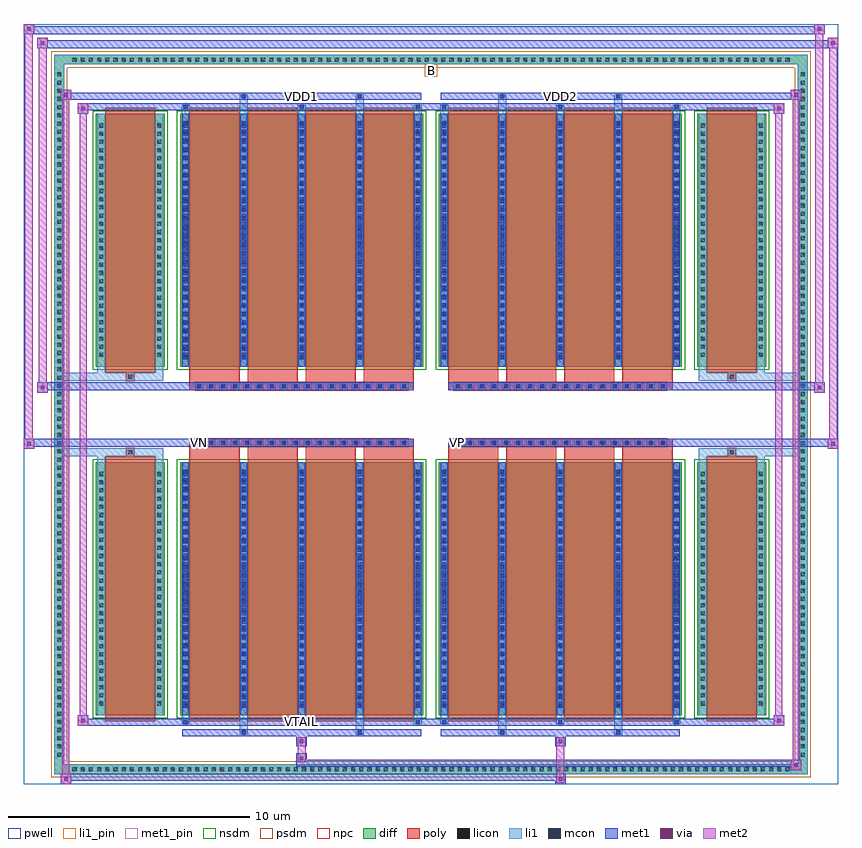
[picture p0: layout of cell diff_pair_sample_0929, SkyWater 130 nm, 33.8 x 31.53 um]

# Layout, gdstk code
import gdstk
lib = gdstk.Library(unit=1e-6, precision=5e-09)
def R(c, l, rs):  # rectangles x0, y0, x1, y1
    for r in rs: c.add(gdstk.rectangle(r[:2], r[2:], *l))
def A(c, l, x, y, w, h, nx, ny, dx, dy):  # array of equal rectangles
    R(c, l, [(x+i*dx, y+j*dy, x+i*dx+w, y+j*dy+h) for i in range(nx) for j in range(ny)])
def P(c, l, *ps):  # polygons
    for p in ps: c.add(gdstk.Polygon(p, *l))
pwell = (64, 44)
diff = (65, 20)
poly = (66, 20)
licon = (66, 44)
li1_pin = (67, 16)
li1 = (67, 20)
mcon = (67, 44)
met1_pin = (68, 16)
met1 = (68, 20)
via = (68, 44)
met2 = (69, 20)
nsdm = (93, 44)
psdm = (94, 20)
npc = (95, 20)

diff_pair_sample_0929 = lib.new_cell('diff_pair_sample_0929')
R(diff_pair_sample_0929, pwell, [(-16.9,-15.33,16.9,16.2), (-14.22,-13.52,-0.01,-0.8), (0.01,-13.52,14.22,-0.8), (-14.22,0.8,-0.01,13.52), (0.01,0.8,14.22,13.52)])
A(diff_pair_sample_0929, diff, -14.995, -14.93, 0.41, 0.41, 88, 2, 0.34, 29.45)
A(diff_pair_sample_0929, diff, -15.63, -14.315, 0.41, 0.41, 1, 84, 0, 0.34)
A(diff_pair_sample_0929, diff, 15.22, -14.315, 0.41, 0.41, 1, 84, 0, 0.34)
R(diff_pair_sample_0929, diff, [(-14.995,-14.93,14.995,-14.52), (-15.63,-14.315,-15.22,14.315), (15.22,-14.315,15.63,14.315), (-13.91,-12.475,-11.05,-1.985), (-10.41,-12.475,-0.32,-1.985), (0.32,-12.475,10.41,-1.985), (11.05,-12.475,13.91,-1.985), (-13.91,1.985,-11.05,12.475), (-10.41,1.985,-0.32,12.475), (0.32,1.985,10.41,12.475), (11.05,1.985,13.91,12.475), (-14.995,14.52,14.995,14.93)])
P(diff_pair_sample_0929, diff, [(15.63,14.93),(-15.63,14.93),(-15.63,-14.52),(-15.22,-14.52),(-15.22,14.52),(15.22,14.52),(15.22,-14.52),(-15.22,-14.52),(-15.63,-14.52),(-15.63,-14.93),(15.63,-14.93)])
A(diff_pair_sample_0929, poly, -10.02, -12.725, 2.08, 10.99, 4, 2, 2.41, 14.46)
A(diff_pair_sample_0929, poly, 0.71, -12.725, 2.08, 10.99, 4, 2, 2.41, 14.46)
A(diff_pair_sample_0929, poly, -10.02, -1.735, 2.08, 0.405, 4, 2, 2.41, 3.065)
A(diff_pair_sample_0929, poly, 0.71, -1.735, 2.08, 0.405, 4, 2, 2.41, 3.065)
A(diff_pair_sample_0929, poly, -9.78, -1.33, 0.33, 0.33, 18, 2, 0.5, 2.33)
A(diff_pair_sample_0929, poly, 0.95, -1.33, 0.33, 0.33, 18, 2, 0.5, 2.33)
R(diff_pair_sample_0929, poly, [(-13.52,-12.725,-11.44,-1.735), (11.44,-12.725,13.52,-1.735), (-12.645,-1.735,-12.315,-1.405), (-12.645,-1.735,-12.315,-1.405), (12.315,-1.735,12.645,-1.405), (12.315,-1.735,12.645,-1.405), (-10.02,-1.33,-0.71,-1), (0.71,-1.33,10.02,-1), (-10.02,1,-0.71,1.33), (0.71,1,10.02,1.33), (-12.645,1.405,-12.315,1.735), (-12.645,1.405,-12.315,1.735), (12.315,1.405,12.645,1.735), (12.315,1.405,12.645,1.735), (-13.52,1.735,-11.44,12.725), (11.44,1.735,13.52,12.725)])
A(diff_pair_sample_0929, licon, -14.875, -14.81, 0.17, 0.17, 88, 2, 0.34, 29.45)
A(diff_pair_sample_0929, licon, -15.51, -14.195, 0.17, 0.17, 1, 84, 0, 0.34)
A(diff_pair_sample_0929, licon, 15.34, -14.195, 0.17, 0.17, 1, 84, 0, 0.34)
A(diff_pair_sample_0929, licon, -13.77, -12.075, 0.17, 0.17, 1, 29, 0, 0.34)
A(diff_pair_sample_0929, licon, -11.36, -12.075, 0.17, 0.17, 1, 29, 0, 0.34)
A(diff_pair_sample_0929, licon, -10.27, -12.075, 0.17, 0.17, 5, 29, 2.41, 0.34)
A(diff_pair_sample_0929, licon, 0.46, -12.075, 0.17, 0.17, 5, 29, 2.41, 0.34)
A(diff_pair_sample_0929, licon, 11.19, -12.075, 0.17, 0.17, 1, 29, 0, 0.34)
A(diff_pair_sample_0929, licon, 13.6, -12.075, 0.17, 0.17, 1, 29, 0, 0.34)
A(diff_pair_sample_0929, licon, -9.7, -1.25, 0.17, 0.17, 18, 2, 0.5, 2.33)
A(diff_pair_sample_0929, licon, 1.03, -1.25, 0.17, 0.17, 18, 2, 0.5, 2.33)
A(diff_pair_sample_0929, licon, -13.77, 2.385, 0.17, 0.17, 1, 29, 0, 0.34)
A(diff_pair_sample_0929, licon, -11.36, 2.385, 0.17, 0.17, 1, 29, 0, 0.34)
A(diff_pair_sample_0929, licon, -10.27, 2.385, 0.17, 0.17, 5, 29, 2.41, 0.34)
A(diff_pair_sample_0929, licon, 0.46, 2.385, 0.17, 0.17, 5, 29, 2.41, 0.34)
A(diff_pair_sample_0929, licon, 11.19, 2.385, 0.17, 0.17, 1, 29, 0, 0.34)
A(diff_pair_sample_0929, licon, 13.6, 2.385, 0.17, 0.17, 1, 29, 0, 0.34)
R(diff_pair_sample_0929, licon, [(-12.565,-1.655,-12.395,-1.485), (12.395,-1.655,12.565,-1.485), (-12.565,1.485,-12.395,1.655), (12.395,1.485,12.565,1.655)])
R(diff_pair_sample_0929, li1_pin, [(-0.25,14.02,0.25,14.52)])
A(diff_pair_sample_0929, li1, -14.955, -14.89, 0.33, 0.33, 88, 2, 0.34, 29.45)
A(diff_pair_sample_0929, li1, -15.59, -14.275, 0.33, 0.33, 1, 84, 0, 0.34)
A(diff_pair_sample_0929, li1, 15.26, -14.275, 0.33, 0.33, 1, 84, 0, 0.34)
A(diff_pair_sample_0929, li1, -10.35, -12.85, 0.33, 0.375, 3, 2, 4.82, 25.325)
A(diff_pair_sample_0929, li1, -10.27, -12.85, 0.17, 0.17, 3, 2, 4.82, 25.53)
A(diff_pair_sample_0929, li1, 0.38, -12.85, 0.33, 0.375, 3, 2, 4.82, 25.325)
A(diff_pair_sample_0929, li1, 0.46, -12.85, 0.17, 0.17, 3, 2, 4.82, 25.53)
A(diff_pair_sample_0929, li1, -10.35, -12.475, 0.33, 10.49, 5, 2, 2.41, 14.46)
A(diff_pair_sample_0929, li1, 0.38, -12.475, 0.33, 10.49, 5, 2, 2.41, 14.46)
A(diff_pair_sample_0929, li1, -10.27, -12.175, 0.17, 0.17, 5, 28, 2.41, 0.36)
A(diff_pair_sample_0929, li1, -10.27, -12.175, 0.17, 9.89, 5, 2, 2.41, 14.46)
A(diff_pair_sample_0929, li1, 0.46, -12.175, 0.17, 0.17, 5, 28, 2.41, 0.36)
A(diff_pair_sample_0929, li1, 0.46, -12.175, 0.17, 9.89, 5, 2, 2.41, 14.46)
A(diff_pair_sample_0929, li1, -13.85, -12.155, 0.33, 0.33, 1, 29, 0, 0.34)
A(diff_pair_sample_0929, li1, -11.44, -12.155, 0.33, 0.33, 1, 29, 0, 0.34)
A(diff_pair_sample_0929, li1, -10.35, -12.155, 0.33, 0.33, 5, 29, 2.41, 0.34)
A(diff_pair_sample_0929, li1, 0.38, -12.155, 0.33, 0.33, 5, 29, 2.41, 0.34)
A(diff_pair_sample_0929, li1, 11.11, -12.155, 0.33, 0.33, 1, 29, 0, 0.34)
A(diff_pair_sample_0929, li1, 13.52, -12.155, 0.33, 0.33, 1, 29, 0, 0.34)
A(diff_pair_sample_0929, li1, -9.78, -1.33, 0.33, 0.33, 18, 2, 0.5, 2.33)
A(diff_pair_sample_0929, li1, 0.95, -1.33, 0.33, 0.33, 18, 2, 0.5, 2.33)
A(diff_pair_sample_0929, li1, -10.27, 2.285, 0.17, 0.17, 5, 28, 2.41, 0.36)
A(diff_pair_sample_0929, li1, 0.46, 2.285, 0.17, 0.17, 5, 28, 2.41, 0.36)
A(diff_pair_sample_0929, li1, -13.85, 2.305, 0.33, 0.33, 1, 29, 0, 0.34)
A(diff_pair_sample_0929, li1, -11.44, 2.305, 0.33, 0.33, 1, 29, 0, 0.34)
A(diff_pair_sample_0929, li1, -10.35, 2.305, 0.33, 0.33, 5, 29, 2.41, 0.34)
A(diff_pair_sample_0929, li1, 0.38, 2.305, 0.33, 0.33, 5, 29, 2.41, 0.34)
A(diff_pair_sample_0929, li1, 11.11, 2.305, 0.33, 0.33, 1, 29, 0, 0.34)
A(diff_pair_sample_0929, li1, 13.52, 2.305, 0.33, 0.33, 1, 29, 0, 0.34)
R(diff_pair_sample_0929, li1, [(-15.63,-14.93,-15.22,-14.52), (-15.63,-14.93,-15.22,-14.52), (-15.22,-14.93,15.22,-14.52), (15.22,-14.93,15.63,-14.52), (15.22,-14.93,15.63,-14.52), (-15.63,-14.52,-15.22,14.52), (15.22,-14.52,15.63,14.52), (-7.94,-13.28,-7.61,-12.475), (-7.86,-13.28,-7.69,-13.11), (-3.12,-13.28,-2.79,-12.475), (-3.04,-13.28,-2.87,-13.11), (2.79,-13.28,3.12,-12.475), (2.87,-13.28,3.04,-13.11), (7.61,-13.28,7.94,-12.475), (7.69,-13.28,7.86,-13.11), (-13.85,-12.475,-13.52,-1.985), (-11.44,-12.475,-11.11,-1.985), (11.11,-12.475,11.44,-1.985), (13.52,-12.475,13.85,-1.985), (-13.85,-1.985,-13.52,-1.405), (-11.44,-1.985,-11.11,-1.405), (11.11,-1.985,11.44,-1.405), (13.52,-1.985,13.85,-1.405), (-15.63,-1.735,-12.645,-1.405), (-13.85,-1.735,-12.645,-1.405), (-12.645,-1.735,-12.315,-1.405), (-12.315,-1.735,-11.11,-1.405), (11.11,-1.735,12.315,-1.405), (12.315,-1.735,12.645,-1.405), (12.315,-1.735,15.63,-1.405), (12.645,-1.735,13.85,-1.405), (-15.63,1.405,-12.645,1.735), (-13.85,1.405,-12.645,1.735), (-13.85,1.405,-13.52,1.985), (-12.645,1.405,-12.315,1.735), (-12.315,1.405,-11.11,1.735), (-11.44,1.405,-11.11,1.985), (11.11,1.405,12.315,1.735), (11.11,1.405,11.44,1.985), (12.315,1.405,12.645,1.735), (12.315,1.405,15.63,1.735), (12.645,1.405,13.85,1.735), (13.52,1.405,13.85,1.985), (-13.85,1.985,-13.52,12.475), (-11.44,1.985,-11.11,12.475), (11.11,1.985,11.44,12.475), (13.52,1.985,13.85,12.475), (-7.94,12.475,-7.61,13.28), (-3.12,12.475,-2.79,13.28), (2.79,12.475,3.12,13.28), (7.61,12.475,7.94,13.28), (-7.86,13.11,-7.69,13.28), (-3.04,13.11,-2.87,13.28), (2.87,13.11,3.04,13.28), (7.69,13.11,7.86,13.28), (-15.63,14.52,-15.22,14.93), (-15.63,14.52,-15.22,14.93), (-15.22,14.52,15.22,14.93), (15.22,14.52,15.63,14.93), (15.22,14.52,15.63,14.93)])
A(diff_pair_sample_0929, mcon, -10.27, -12.85, 0.17, 0.17, 3, 2, 4.82, 25.53)
A(diff_pair_sample_0929, mcon, 0.46, -12.85, 0.17, 0.17, 3, 2, 4.82, 25.53)
A(diff_pair_sample_0929, mcon, -10.27, -12.175, 0.17, 0.17, 5, 28, 2.41, 0.36)
A(diff_pair_sample_0929, mcon, 0.46, -12.175, 0.17, 0.17, 5, 28, 2.41, 0.36)
A(diff_pair_sample_0929, mcon, -9.7, -1.25, 0.17, 0.17, 18, 2, 0.5, 2.33)
A(diff_pair_sample_0929, mcon, 1.03, -1.25, 0.17, 0.17, 18, 2, 0.5, 2.33)
A(diff_pair_sample_0929, mcon, -10.27, 2.285, 0.17, 0.17, 5, 28, 2.41, 0.36)
A(diff_pair_sample_0929, mcon, 0.46, 2.285, 0.17, 0.17, 5, 28, 2.41, 0.36)
R(diff_pair_sample_0929, mcon, [(-7.86,-13.28,-7.69,-13.11), (-3.04,-13.28,-2.87,-13.11), (2.87,-13.28,3.04,-13.11), (7.69,-13.28,7.86,-13.11), (-7.86,13.11,-7.69,13.28), (-3.04,13.11,-2.87,13.28), (2.87,13.11,3.04,13.28), (7.69,13.11,7.86,13.28)])
R(diff_pair_sample_0929, met1_pin, [(-5.5,-12.89,-5.23,-12.62), (-9.75,-1.29,-9.48,-1.02), (0.98,-1.29,1.25,-1.02), (-5.5,13.07,-5.23,13.34), (5.23,13.07,5.5,13.34)])
A(diff_pair_sample_0929, met1, -10.33, -12.91, 0.29, 0.29, 3, 2, 4.82, 25.53)
A(diff_pair_sample_0929, met1, 0.4, -12.91, 0.29, 0.29, 3, 2, 4.82, 25.53)
A(diff_pair_sample_0929, met1, -10.33, -12.475, 0.29, 10.49, 5, 2, 2.41, 14.46)
A(diff_pair_sample_0929, met1, 0.4, -12.475, 0.29, 10.49, 5, 2, 2.41, 14.46)
A(diff_pair_sample_0929, met1, -10.33, -12.235, 0.29, 0.29, 5, 28, 2.41, 0.36)
A(diff_pair_sample_0929, met1, 0.4, -12.235, 0.29, 0.29, 5, 28, 2.41, 0.36)
A(diff_pair_sample_0929, met1, -9.76, -1.31, 0.29, 0.29, 18, 2, 0.5, 2.33)
A(diff_pair_sample_0929, met1, 0.97, -1.31, 0.29, 0.29, 18, 2, 0.5, 2.33)
A(diff_pair_sample_0929, met1, -10.33, 2.225, 0.29, 0.29, 5, 28, 2.41, 0.36)
A(diff_pair_sample_0929, met1, 0.4, 2.225, 0.29, 0.29, 5, 28, 2.41, 0.36)
R(diff_pair_sample_0929, met1, [(-15.36,-15.33,-14.93,-14.9), (5.15,-15.33,5.58,-14.9), (-15.36,-15.19,5.58,-14.9), (14.93,-14.76,15.36,-14.33), (-5.58,-14.62,15.36,-14.33), (-5.58,-14.48,-5.15,-14.05), (-5.58,-13.77,-5.15,-13.34), (5.15,-13.77,5.58,-13.34), (-10.33,-13.34,-0.4,-13.05), (-7.92,-13.34,-7.63,-13.05), (-3.1,-13.34,-2.81,-13.05), (0.4,-13.34,10.33,-13.05), (2.81,-13.34,3.1,-13.05), (7.63,-13.34,7.92,-13.05), (-14.65,-12.91,-14.22,-12.48), (-14.65,-12.91,-10.33,-12.62), (-10.33,-12.91,-0.4,-12.62), (-0.4,-12.91,0.4,-12.62), (0.4,-12.91,10.33,-12.62), (10.33,-12.91,14.65,-12.62), (14.22,-12.91,14.65,-12.48), (-16.9,-1.43,-16.47,-1), (16.47,-1.43,16.9,-1), (-16.9,-1.33,-0.71,-1), (-10.02,-1.33,-0.71,-1), (0.71,-1.33,10.02,-1), (0.71,-1.33,16.9,-1), (-16.33,0.9,-15.9,1.33), (15.9,0.9,16.33,1.33), (-16.33,1,-10.02,1.33), (-10.02,1,-0.71,1.33), (0.71,1,10.02,1.33), (10.02,1,16.33,1.33), (-14.65,12.48,-14.22,12.91), (14.22,12.48,14.65,12.91), (-14.65,12.62,-10.33,12.91), (-10.33,12.62,-0.4,12.91), (-0.4,12.62,0.4,12.91), (0.4,12.62,10.33,12.91), (10.33,12.62,14.65,12.91), (-15.36,13.05,-14.93,13.48), (-15.36,13.05,-10.33,13.34), (-10.33,13.05,-0.4,13.34), (-7.92,13.05,-7.63,13.34), (-3.1,13.05,-2.81,13.34), (0.4,13.05,10.33,13.34), (2.81,13.05,3.1,13.34), (7.63,13.05,7.92,13.34), (10.33,13.05,15.36,13.34), (14.93,13.05,15.36,13.48), (-16.33,15.2,-15.9,15.63), (-16.33,15.2,-14.22,15.53), (-14.22,15.2,14.22,15.53), (14.22,15.2,16.9,15.53), (16.47,15.2,16.9,15.63), (-16.9,15.77,-16.47,16.2), (-16.9,15.77,-14.22,16.1), (-14.22,15.77,14.22,16.1), (14.22,15.77,16.33,16.1), (15.9,15.77,16.33,16.2)])
R(diff_pair_sample_0929, via, [(-15.22,-15.19,-15.07,-15.04), (5.29,-15.19,5.44,-15.04), (15.07,-14.62,15.22,-14.47), (-5.44,-14.34,-5.29,-14.19), (-5.44,-13.63,-5.29,-13.48), (5.29,-13.63,5.44,-13.48), (-14.51,-12.77,-14.36,-12.62), (14.36,-12.77,14.51,-12.62), (-16.76,-1.29,-16.61,-1.14), (16.61,-1.29,16.76,-1.14), (-16.19,1.04,-16.04,1.19), (16.04,1.04,16.19,1.19), (-14.51,12.62,-14.36,12.77), (14.36,12.62,14.51,12.77), (-15.22,13.19,-15.07,13.34), (15.07,13.19,15.22,13.34), (-16.19,15.34,-16.04,15.49), (16.61,15.34,16.76,15.49), (-16.76,15.91,-16.61,16.06), (16.04,15.91,16.19,16.06)])
R(diff_pair_sample_0929, met2, [(-15.36,-15.33,-14.93,-14.9), (-15.29,-15.33,-15,13.48), (-15,-15.33,-14.93,-14.9), (-15.31,-15.28,-14.98,-14.95), (5.2,-15.28,5.53,-14.95), (5.2,-14.95,5.53,-13.72), (14.93,-14.76,15.36,-14.33), (15,-14.76,15.29,13.48), (15.29,-14.76,15.36,-14.33), (14.98,-14.71,15.31,-14.38), (-5.53,-14.43,-5.2,-14.1), (-5.53,-14.1,-5.2,-13.72), (-5.53,-13.72,-5.2,-13.39), (5.2,-13.72,5.53,-13.39), (-14.65,-12.91,-14.22,-12.48), (-14.58,-12.91,-14.29,12.91), (-14.29,-12.91,-14.22,-12.48), (14.22,-12.91,14.65,-12.48), (14.29,-12.91,14.58,12.91), (14.58,-12.91,14.65,-12.48), (-14.6,-12.86,-14.27,-12.53), (14.27,-12.86,14.6,-12.53), (-16.9,-1.43,-16.47,-1), (-16.85,-1.43,-16.52,16.2), (-16.52,-1.43,-16.47,-1), (16.47,-1.43,16.9,-1), (16.52,-1.43,16.85,15.63), (16.85,-1.43,16.9,-1), (-16.85,-1.38,-16.52,-1.05), (16.52,-1.38,16.85,-1.05), (-16.33,0.9,-15.9,1.33), (-16.28,0.9,-15.95,15.63), (-15.95,0.9,-15.9,1.33), (15.9,0.9,16.33,1.33), (15.95,0.9,16.28,16.2), (16.28,0.9,16.33,1.33), (-16.28,0.95,-15.95,1.28), (15.95,0.95,16.28,1.28), (-14.65,12.48,-14.22,12.91), (-14.29,12.48,-14.22,12.91), (14.22,12.48,14.65,12.91), (14.58,12.48,14.65,12.91), (-14.6,12.53,-14.27,12.86), (14.27,12.53,14.6,12.86), (-15.36,13.05,-14.93,13.48), (-15,13.05,-14.93,13.48), (14.93,13.05,15.36,13.48), (15.29,13.05,15.36,13.48), (-15.31,13.1,-14.98,13.43), (14.98,13.1,15.31,13.43), (-16.33,15.2,-15.9,15.63), (-15.95,15.2,-15.9,15.63), (16.47,15.2,16.9,15.63), (16.85,15.2,16.9,15.63), (-16.28,15.25,-15.95,15.58), (16.52,15.25,16.85,15.58), (-16.9,15.77,-16.47,16.2), (-16.52,15.77,-16.47,16.2), (15.9,15.77,16.33,16.2), (16.28,15.77,16.33,16.2), (-16.85,15.82,-16.52,16.15), (15.95,15.82,16.28,16.15)])
R(diff_pair_sample_0929, nsdm, [(-14.04,-12.605,-10.92,-1.855), (-10.54,-12.605,-0.19,-1.855), (0.19,-12.605,10.54,-1.855), (10.92,-12.605,14.04,-1.855), (-14.04,1.855,-10.92,12.605), (-10.54,1.855,-0.19,12.605), (0.19,1.855,10.54,12.605), (10.92,1.855,14.04,12.605)])
P(diff_pair_sample_0929, psdm, [(15.76,15.06),(-15.76,15.06),(-15.76,-14.39),(-15.09,-14.39),(-15.09,14.39),(15.09,14.39),(15.09,-14.39),(-15.09,-14.39),(-15.76,-14.39),(-15.76,-15.06),(15.76,-15.06)])
A(diff_pair_sample_0929, npc, -9.8, -1.35, 0.37, 0.37, 18, 2, 0.5, 2.33)
A(diff_pair_sample_0929, npc, 0.93, -1.35, 0.37, 0.37, 18, 2, 0.5, 2.33)
R(diff_pair_sample_0929, npc, [(-12.665,-1.755,-12.295,-1.385), (12.295,-1.755,12.665,-1.385), (-9.8,-1.35,-8.93,-0.98), (-9.8,-1.35,-8.93,-0.98), (-9.3,-1.35,-8.43,-0.98), (-9.3,-1.35,-8.43,-0.98), (-8.8,-1.35,-7.93,-0.98), (-8.8,-1.35,-7.93,-0.98), (-8.3,-1.35,-7.43,-0.98), (-8.3,-1.35,-7.43,-0.98), (-7.8,-1.35,-6.93,-0.98), (-7.8,-1.35,-6.93,-0.98), (-7.3,-1.35,-6.43,-0.98), (-7.3,-1.35,-6.43,-0.98), (-6.8,-1.35,-5.93,-0.98), (-6.8,-1.35,-5.93,-0.98), (-6.3,-1.35,-5.43,-0.98), (-6.3,-1.35,-5.43,-0.98), (-5.8,-1.35,-4.93,-0.98), (-5.8,-1.35,-4.93,-0.98), (-5.3,-1.35,-4.43,-0.98), (-5.3,-1.35,-4.43,-0.98), (-4.8,-1.35,-3.93,-0.98), (-4.8,-1.35,-3.93,-0.98), (-4.3,-1.35,-3.43,-0.98), (-4.3,-1.35,-3.43,-0.98), (-3.8,-1.35,-2.93,-0.98), (-3.8,-1.35,-2.93,-0.98), (-3.3,-1.35,-2.43,-0.98), (-3.3,-1.35,-2.43,-0.98), (-2.8,-1.35,-1.93,-0.98), (-2.8,-1.35,-1.93,-0.98), (-2.3,-1.35,-1.43,-0.98), (-2.3,-1.35,-1.43,-0.98), (-1.8,-1.35,-0.93,-0.98), (-1.8,-1.35,-0.93,-0.98), (0.93,-1.35,1.8,-0.98), (0.93,-1.35,1.8,-0.98), (1.43,-1.35,2.3,-0.98), (1.43,-1.35,2.3,-0.98), (1.93,-1.35,2.8,-0.98), (1.93,-1.35,2.8,-0.98), (2.43,-1.35,3.3,-0.98), (2.43,-1.35,3.3,-0.98), (2.93,-1.35,3.8,-0.98), (2.93,-1.35,3.8,-0.98), (3.43,-1.35,4.3,-0.98), (3.43,-1.35,4.3,-0.98), (3.93,-1.35,4.8,-0.98), (3.93,-1.35,4.8,-0.98), (4.43,-1.35,5.3,-0.98), (4.43,-1.35,5.3,-0.98), (4.93,-1.35,5.8,-0.98), (4.93,-1.35,5.8,-0.98), (5.43,-1.35,6.3,-0.98), (5.43,-1.35,6.3,-0.98), (5.93,-1.35,6.8,-0.98), (5.93,-1.35,6.8,-0.98), (6.43,-1.35,7.3,-0.98), (6.43,-1.35,7.3,-0.98), (6.93,-1.35,7.8,-0.98), (6.93,-1.35,7.8,-0.98), (7.43,-1.35,8.3,-0.98), (7.43,-1.35,8.3,-0.98), (7.93,-1.35,8.8,-0.98), (7.93,-1.35,8.8,-0.98), (8.43,-1.35,9.3,-0.98), (8.43,-1.35,9.3,-0.98), (8.93,-1.35,9.8,-0.98), (8.93,-1.35,9.8,-0.98), (-9.8,0.98,-8.93,1.35), (-9.8,0.98,-8.93,1.35), (-9.3,0.98,-8.43,1.35), (-9.3,0.98,-8.43,1.35), (-8.8,0.98,-7.93,1.35), (-8.8,0.98,-7.93,1.35), (-8.3,0.98,-7.43,1.35), (-8.3,0.98,-7.43,1.35), (-7.8,0.98,-6.93,1.35), (-7.8,0.98,-6.93,1.35), (-7.3,0.98,-6.43,1.35), (-7.3,0.98,-6.43,1.35), (-6.8,0.98,-5.93,1.35), (-6.8,0.98,-5.93,1.35), (-6.3,0.98,-5.43,1.35), (-6.3,0.98,-5.43,1.35), (-5.8,0.98,-4.93,1.35), (-5.8,0.98,-4.93,1.35), (-5.3,0.98,-4.43,1.35), (-5.3,0.98,-4.43,1.35), (-4.8,0.98,-3.93,1.35), (-4.8,0.98,-3.93,1.35), (-4.3,0.98,-3.43,1.35), (-4.3,0.98,-3.43,1.35), (-3.8,0.98,-2.93,1.35), (-3.8,0.98,-2.93,1.35), (-3.3,0.98,-2.43,1.35), (-3.3,0.98,-2.43,1.35), (-2.8,0.98,-1.93,1.35), (-2.8,0.98,-1.93,1.35), (-2.3,0.98,-1.43,1.35), (-2.3,0.98,-1.43,1.35), (-1.8,0.98,-0.93,1.35), (-1.8,0.98,-0.93,1.35), (0.93,0.98,1.8,1.35), (0.93,0.98,1.8,1.35), (1.43,0.98,2.3,1.35), (1.43,0.98,2.3,1.35), (1.93,0.98,2.8,1.35), (1.93,0.98,2.8,1.35), (2.43,0.98,3.3,1.35), (2.43,0.98,3.3,1.35), (2.93,0.98,3.8,1.35), (2.93,0.98,3.8,1.35), (3.43,0.98,4.3,1.35), (3.43,0.98,4.3,1.35), (3.93,0.98,4.8,1.35), (3.93,0.98,4.8,1.35), (4.43,0.98,5.3,1.35), (4.43,0.98,5.3,1.35), (4.93,0.98,5.8,1.35), (4.93,0.98,5.8,1.35), (5.43,0.98,6.3,1.35), (5.43,0.98,6.3,1.35), (5.93,0.98,6.8,1.35), (5.93,0.98,6.8,1.35), (6.43,0.98,7.3,1.35), (6.43,0.98,7.3,1.35), (6.93,0.98,7.8,1.35), (6.93,0.98,7.8,1.35), (7.43,0.98,8.3,1.35), (7.43,0.98,8.3,1.35), (7.93,0.98,8.8,1.35), (7.93,0.98,8.8,1.35), (8.43,0.98,9.3,1.35), (8.43,0.98,9.3,1.35), (8.93,0.98,9.8,1.35), (8.93,0.98,9.8,1.35), (-12.665,1.385,-12.295,1.755), (12.295,1.385,12.665,1.755)])
diff_pair_sample_0929.add(gdstk.Label('VTAIL', (-5.365,-12.755), layer=68, texttype=5))
diff_pair_sample_0929.add(gdstk.Label('VN', (-9.615,-1.155), layer=68, texttype=5))
diff_pair_sample_0929.add(gdstk.Label('VP', (1.115,-1.155), layer=68, texttype=5))
diff_pair_sample_0929.add(gdstk.Label('B', (0,14.27), layer=67, texttype=5))
diff_pair_sample_0929.add(gdstk.Label('VDD2', (5.365,13.205), layer=68, texttype=5))
diff_pair_sample_0929.add(gdstk.Label('VDD1', (-5.365,13.205), layer=68, texttype=5))

lib.write_gds('diff_pair_sample_0929.gds')
